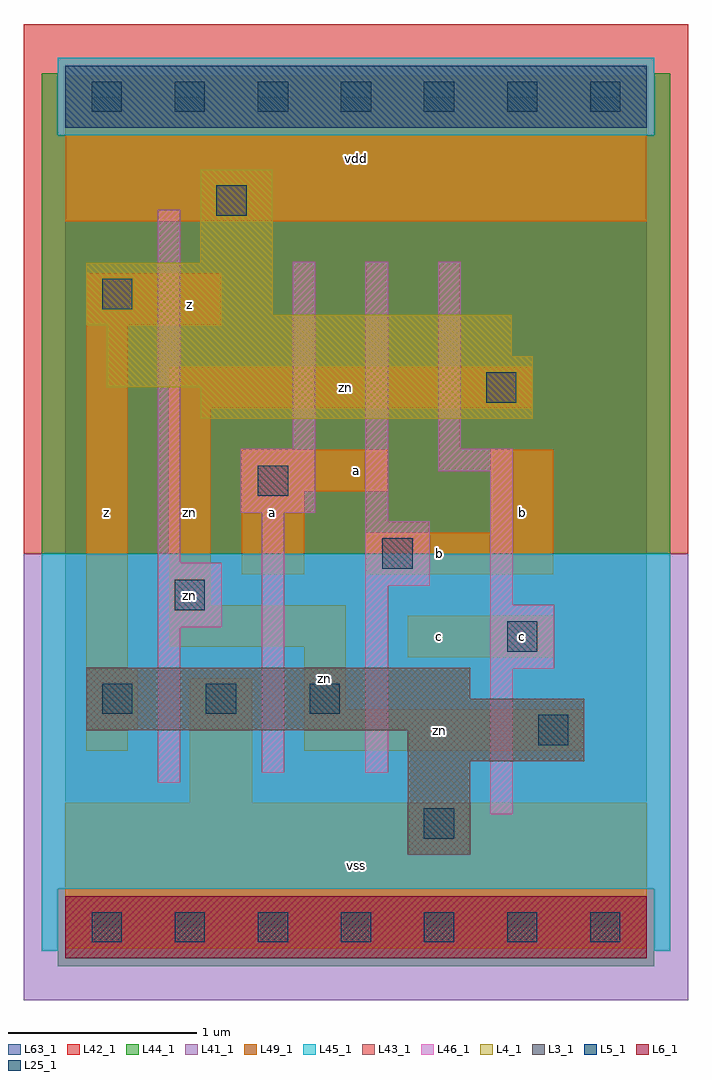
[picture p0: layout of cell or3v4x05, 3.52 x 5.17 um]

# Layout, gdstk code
import gdstk
lib = gdstk.Library(unit=1e-6, precision=1e-09)
def R(c, l, rs):  # rectangles x0, y0, x1, y1
    for r in rs: c.add(gdstk.rectangle(r[:2], r[2:], *l))
def A(c, l, x, y, w, h, nx, ny, dx, dy):  # array of equal rectangles
    R(c, l, [(x+i*dx, y+j*dy, x+i*dx+w, y+j*dy+h) for i in range(nx) for j in range(ny)])
L3_1 = (3, 1)
L4_1 = (4, 1)
L5_1 = (5, 1)
L6_1 = (6, 1)
L25_1 = (25, 1)
L41_1 = (41, 1)
L42_1 = (42, 1)
L43_1 = (43, 1)
L44_1 = (44, 1)
L45_1 = (45, 1)
L46_1 = (46, 1)
L49_1 = (49, 1)
L63_1 = (63, 1)

or3v4x05 = lib.new_cell('or3v4x05')
R(or3v4x05, L3_1, [(1.815,0.385,2.145,0.88), (1.815,0.88,2.75,1.045), (0.11,1.045,2.75,1.21), (0.11,1.21,2.145,1.375)])
R(or3v4x05, L4_1, [(0.715,2.695,2.475,2.86), (0.22,2.86,2.475,3.025), (0.22,3.025,2.365,3.19), (0.11,3.19,2.365,3.245), (0.11,3.245,1.1,3.52), (0.715,3.52,1.1,4.015)])
R(or3v4x05, L5_1, [(0,4.235,3.08,4.565)])
R(or3v4x05, L6_1, [(0,-0.165,3.08,0.165)])
A(or3v4x05, L25_1, 0.14, -0.08, 0.16, 0.16, 7, 2, 0.44, 4.4)
A(or3v4x05, L25_1, 0.195, 1.13, 0.16, 0.16, 3, 1, 0.55, 0)
R(or3v4x05, L25_1, [(1.9,0.47,2.06,0.63), (2.505,0.965,2.665,1.125), (2.34,1.46,2.5,1.62), (0.58,1.68,0.74,1.84), (1.68,1.9,1.84,2.06), (1.02,2.285,1.18,2.445), (2.23,2.78,2.39,2.94), (0.195,3.275,0.355,3.435), (0.8,3.77,0.96,3.93)])
R(or3v4x05, L41_1, [(-0.22,-0.385,3.3,1.98)])
R(or3v4x05, L42_1, [(-0.22,1.98,3.3,4.785)])
R(or3v4x05, L43_1, [(0,-0.165,3.08,0.165), (1.815,0.385,2.145,0.88), (1.815,0.88,2.75,1.045), (0.11,1.045,2.75,1.21), (0.11,1.21,2.145,1.375), (0.715,2.695,2.475,2.86), (0.22,2.86,2.475,3.025), (0.22,3.025,2.365,3.19), (0.11,3.19,2.365,3.245), (0.11,3.245,1.1,3.52), (0.715,3.52,1.1,4.015), (0,4.235,3.08,4.565)])
R(or3v4x05, L44_1, [(-0.04,-0.205,3.12,0.205), (-0.125,1.98,3.205,4.195), (-0.125,4.195,-0.04,4.525), (3.12,4.195,3.205,4.525)])
R(or3v4x05, L45_1, [(-0.125,-0.125,-0.04,0.205), (3.12,-0.125,3.205,0.205), (-0.125,0.205,3.205,1.98), (-0.04,4.195,3.12,4.605)])
R(or3v4x05, L46_1, [(2.25,0.6,2.37,1.37), (0.49,0.765,0.61,1.59), (1.04,0.82,1.16,2.195), (1.59,0.82,1.71,1.81), (2.25,1.37,2.59,1.71), (0.49,1.59,0.83,1.93), (2.25,1.71,2.37,2.415), (1.59,1.81,1.93,2.15), (0.49,1.93,0.61,3.8), (1.59,2.15,1.71,3.525), (0.93,2.195,1.325,2.535), (1.975,2.415,2.37,2.535), (1.205,2.535,1.325,3.525), (1.975,2.535,2.095,3.525)])
R(or3v4x05, L49_1, [(0,-0.11,3.08,0.66), (0.66,0.66,0.99,1.32), (0.11,0.935,0.33,1.045), (1.265,0.935,2.75,1.155), (0.11,1.045,0.385,1.375), (1.265,1.155,1.485,1.485), (0.11,1.375,0.33,3.19), (1.815,1.43,2.585,1.65), (0.55,1.485,1.485,1.705), (0.55,1.705,0.77,2.75), (0.935,1.87,1.265,2.31), (1.595,1.87,2.585,2.09), (2.255,2.09,2.585,2.53), (0.935,2.31,1.705,2.53), (0.55,2.75,2.475,2.97), (0.11,3.19,0.825,3.465), (0,3.74,3.08,4.51)])
R(or3v4x05, L63_1, [(0,0,3.08,4.4)])
or3v4x05.add(gdstk.Label('zn', (0.66,1.76), layer=49, texttype=1))
or3v4x05.add(gdstk.Label('z', (0.22,2.2), layer=49, texttype=1))
or3v4x05.add(gdstk.Label('zn', (1.375,1.32), layer=49, texttype=1))
or3v4x05.add(gdstk.Label('a', (1.1,2.2), layer=49, texttype=1))
or3v4x05.add(gdstk.Label('zn', (0.66,2.2), layer=49, texttype=1))
or3v4x05.add(gdstk.Label('z', (0.66,3.3), layer=49, texttype=1))
or3v4x05.add(gdstk.Label('vss', (1.54,0.33), layer=49, texttype=1))
or3v4x05.add(gdstk.Label('c', (1.98,1.54), layer=49, texttype=1))
or3v4x05.add(gdstk.Label('b', (1.98,1.98), layer=49, texttype=1))
or3v4x05.add(gdstk.Label('a', (1.54,2.42), layer=49, texttype=1))
or3v4x05.add(gdstk.Label('vdd', (1.54,4.07), layer=49, texttype=1))
or3v4x05.add(gdstk.Label('zn', (1.98,1.045), layer=49, texttype=1))
or3v4x05.add(gdstk.Label('c', (2.42,1.54), layer=49, texttype=1))
or3v4x05.add(gdstk.Label('b', (2.42,2.2), layer=49, texttype=1))
or3v4x05.add(gdstk.Label('zn', (1.485,2.86), layer=49, texttype=1))

lib.write_gds('or3v4x05.gds')
